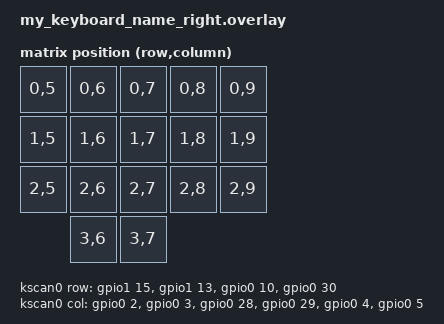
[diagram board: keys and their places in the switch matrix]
// my_keyboard_name_right.overlay

#include <zephyr/dt-bindings/zmk/matrix_transform.h>

/ {
    chosen {
        zmk,kscan = &kscan0;
        zmk,matrix_transform = &default_transform;
        zmk,split = &split;
    };

    kscan0: kscan {
        compatible = "zmk,kscan-gpio-matrix";
        diode-direction = "col2row";
        col-gpios = <&gpio0 2>, <&gpio0 3>, <&gpio0 28>, <&gpio0 29>, <&gpio0 4>, <&gpio0 5>;
        row-gpios = <&gpio1 15>, <&gpio1 13>, <&gpio0 10>, <&gpio0 30>;
    };

    // 右手側のマッピング。5列ずらして定義
    default_transform: keymap_transform_0 {
        compatible = "zmk,matrix-transform";
        columns = <6>;
        rows = <4>;
        map = <
            RC(0,5) RC(0,6) RC(0,7) RC(0,8) RC(0,9)
            RC(1,5) RC(1,6) RC(1,7) RC(1,8) RC(1,9)
            RC(2,5) RC(2,6) RC(2,7) RC(2,8) RC(2,9)
                        RC(3,6) RC(3,7)
        >;
    };

    split: split {
        compatible = "zmk,split-i2c";
        // 右手側をペリフェラル（スレーブ）に設定
        role = "peripheral";
    };

    &i2c0 {
        status = "okay";
        sda-pin = <&gpio0 6>; // D4
        scl-pin = <&gpio0 7>; // D5
    };
};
